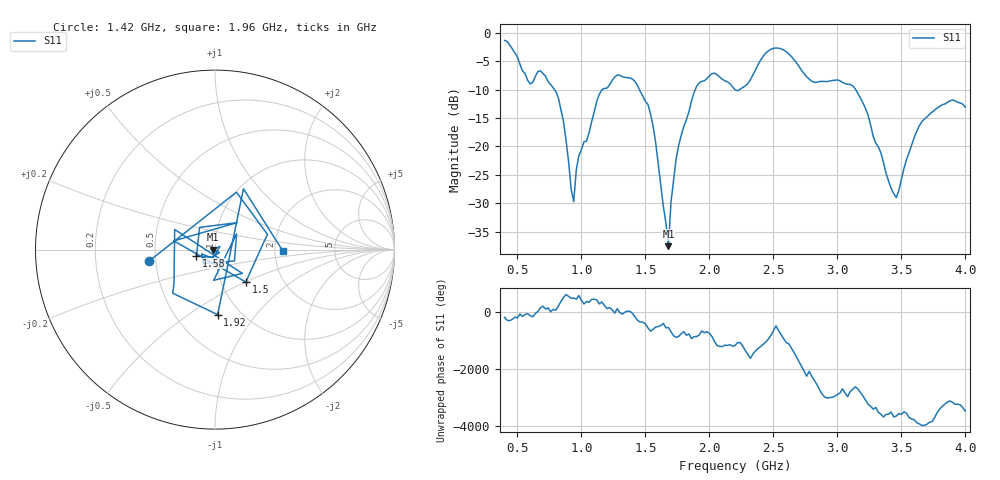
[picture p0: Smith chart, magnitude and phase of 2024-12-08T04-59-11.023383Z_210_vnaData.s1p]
!Created with skrf (http://scikit-rf.org).
# Hz S RI R 50.0
!freq ReS11 ImS11
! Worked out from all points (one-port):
!   181 points, 400 MHz to 4 GHz, reference 50 ohm
!   lowest |S11| = -37.6 dB at 1.68 GHz (marker M1), VSWR 1.03, Z = 48.7 - j0.0516 ohm
!   |S11| at or under -10 dB: 790 MHz to 1.16 GHz (370.2 MHz wide, 38 % of centre); 1.453 GHz to 1.889 GHz (435.8 MHz wide, 26.1 % of centre); 3.143 GHz to end of sweep (the widest 3 of 4)
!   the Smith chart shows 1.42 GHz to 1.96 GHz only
!   S11 on the Smith chart (normalised r, x): 1.42 GHz: 0.46, -0.07; 1.5 GHz: 1.31, -0.50; 1.58 GHz: 0.81, -0.06; 1.92 GHz: 0.79, -0.66; 1.96 GHz: 2.22, -0.04
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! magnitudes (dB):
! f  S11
! 400 MHz  -1.3
! 600 MHz  -9.0
! 720 MHz  -7.6
! 800 MHz  -10.3
! 860 MHz  -15.6
! 940 MHz  -29.7
! 980 MHz  -21.7
! 1.12 GHz  -12.0
! 1.3 GHz  -7.5
! 1.42 GHz  -8.6
! 1.5 GHz  -12.1
! 1.58 GHz  -19.3
! 1.68 GHz  -37.6
! 1.7 GHz  -29.8
! 1.76 GHz  -19.8
! 1.92 GHz  -8.8
! 1.96 GHz  -8.4
! 2.04 GHz  -7.1
! 2.2 GHz  -10.0
! 2.48 GHz  -2.9
! 2.66 GHz  -4.7
! 2.8 GHz  -8.5
! 3.1 GHz  -9.1
! 3.22 GHz  -13.3
! 3.46 GHz  -29.0
! 3.56 GHz  -21.1
! 3.72 GHz  -14.3
! 4 GHz  -13.1
